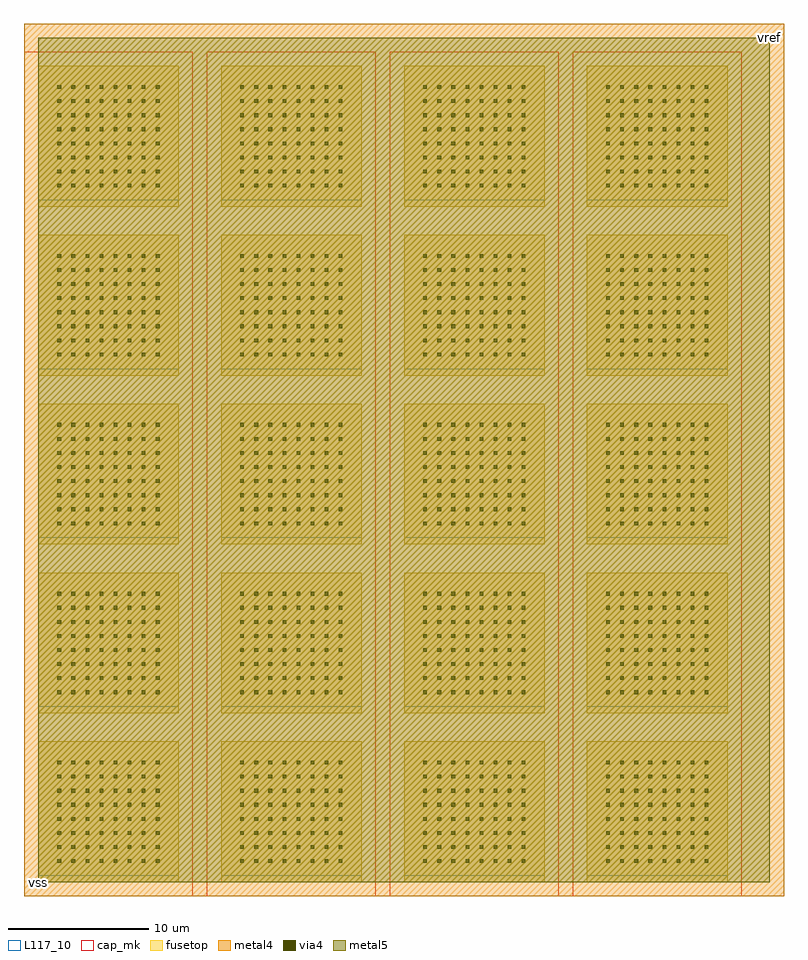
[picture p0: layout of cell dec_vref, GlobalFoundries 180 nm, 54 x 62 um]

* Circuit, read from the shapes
.subckt dec_vref vref vss
XC1 vref vss cap_mim_2f0fF c_width=10u c_length=10u m=20
.ends

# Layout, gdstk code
import gdstk
lib = gdstk.Library(unit=1e-6, precision=1e-09)
def R(c, l, rs):  # rectangles x0, y0, x1, y1
    for r in rs: c.add(gdstk.rectangle(r[:2], r[2:], *l))
def A(c, l, x, y, w, h, nx, ny, dx, dy):  # array of equal rectangles
    R(c, l, [(x+i*dx, y+j*dy, x+i*dx+w, y+j*dy+h) for i in range(nx) for j in range(ny)])
via4 = (41, 0)
metal4 = (46, 0)
fusetop = (75, 0)
metal5 = (81, 0)
cap_mk = (117, 5)
L117_10 = (117, 10)

gf180mcu_cap_mim_l_10_00 = lib.new_cell('gf180mcu.cap_mim(L=10.000,W=10.000)')

dec_vref = lib.new_cell('dec_vref')
A(dec_vref, via4, 6.37, 6.37, 0.26, 0.26, 8, 8, 1, 1)
A(dec_vref, via4, 19.37, 6.37, 0.26, 0.26, 8, 8, 1, 1)
A(dec_vref, via4, 32.37, 6.37, 0.26, 0.26, 8, 8, 1, 1)
A(dec_vref, via4, 45.37, 6.37, 0.26, 0.26, 8, 8, 1, 1)
A(dec_vref, via4, 6.37, 18.37, 0.26, 0.26, 8, 8, 1, 1)
A(dec_vref, via4, 19.37, 18.37, 0.26, 0.26, 8, 8, 1, 1)
A(dec_vref, via4, 32.37, 18.37, 0.26, 0.26, 8, 8, 1, 1)
A(dec_vref, via4, 45.37, 18.37, 0.26, 0.26, 8, 8, 1, 1)
A(dec_vref, via4, 6.37, 30.37, 0.26, 0.26, 8, 8, 1, 1)
A(dec_vref, via4, 19.37, 30.37, 0.26, 0.26, 8, 8, 1, 1)
A(dec_vref, via4, 32.37, 30.37, 0.26, 0.26, 8, 8, 1, 1)
A(dec_vref, via4, 45.37, 30.37, 0.26, 0.26, 8, 8, 1, 1)
A(dec_vref, via4, 6.37, 42.37, 0.26, 0.26, 8, 8, 1, 1)
A(dec_vref, via4, 19.37, 42.37, 0.26, 0.26, 8, 8, 1, 1)
A(dec_vref, via4, 32.37, 42.37, 0.26, 0.26, 8, 8, 1, 1)
A(dec_vref, via4, 45.37, 42.37, 0.26, 0.26, 8, 8, 1, 1)
A(dec_vref, via4, 6.37, 54.37, 0.26, 0.26, 8, 8, 1, 1)
A(dec_vref, via4, 19.37, 54.37, 0.26, 0.26, 8, 8, 1, 1)
A(dec_vref, via4, 32.37, 54.37, 0.26, 0.26, 8, 8, 1, 1)
A(dec_vref, via4, 45.37, 54.37, 0.26, 0.26, 8, 8, 1, 1)
R(dec_vref, metal4, [(4,4,58,66)])
A(dec_vref, fusetop, 5, 5, 10, 10, 4, 5, 13, 12)
A(dec_vref, metal5, 5, 5, 10, 10, 4, 5, 13, 12)
R(dec_vref, metal5, [(5,5,57,65)])
A(dec_vref, cap_mk, 4, 4, 12, 12, 4, 5, 13, 12)
A(dec_vref, L117_10, 5, 5, 10, 0.5, 4, 5, 13, 12)
dec_vref.add(gdstk.Reference(gf180mcu_cap_mim_l_10_00, (0,0)))
dec_vref.add(gdstk.Label('vss', (5,5), layer=46, texttype=10))
dec_vref.add(gdstk.Label('vref', (57,65), layer=81, texttype=10))

lib.write_gds('dec_vref.gds')
